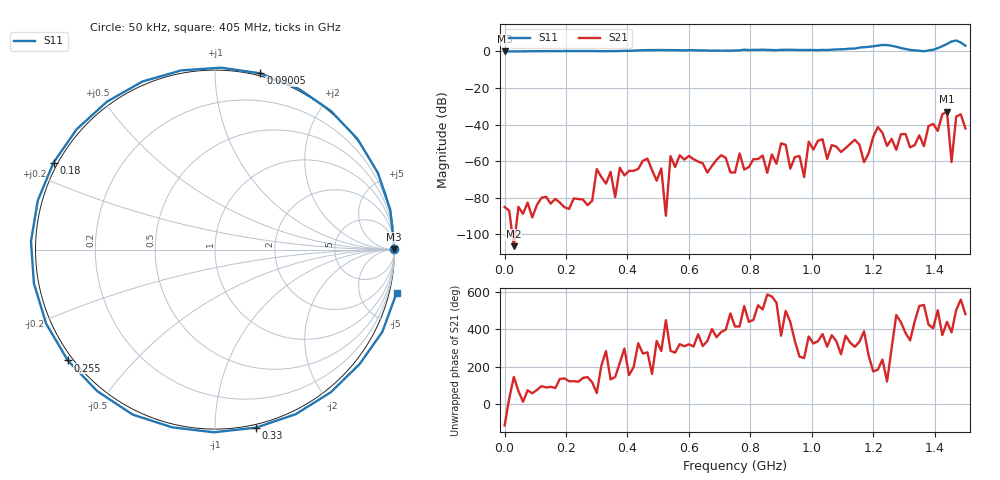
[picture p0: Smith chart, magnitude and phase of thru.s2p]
! Created with skrf 1.8.0 (http://scikit-rf.org).
# Hz S RI R 50.0
!freq ReS11 ImS11 ReS21 ImS21 ReS12 ImS12 ReS22 ImS22
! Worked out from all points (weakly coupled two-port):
!   101 points, 50 kHz to 1.5 GHz, reference 50 ohm
!   highest |S21| = -32.86 dB at 1.44 GHz (marker M1); lowest = -106.4 dB at 30.05 MHz (marker M2)
!   lowest |S11| = 0.0 dB at 50 kHz (marker M3)
!   |S11| at or under -10 dB: nowhere
!   S12 and S22 are empty: the file has one direction only
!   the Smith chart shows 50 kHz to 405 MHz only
!   S11 on the Smith chart (normalised r, x): 50 kHz: open; 90.05 MHz: -0.02, +1.29; 180 MHz: -0.01, +0.25; 255 MHz: -0.01, -0.33; 330 MHz: -0.02, -1.26; 405 MHz: -1.44, -8.34
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50000  0.9987 0.00119  -2.4e-05 -5.1e-05  0 0  0 0
3.0049e7  0.9074 0.4278  -3.92e-06 2.75e-06  0 0  0 0
9.0047e7  0.2527 0.982  1.6e-05 2.44e-05  0 0  0 0
1.80044e8  -0.8995 0.4851  -5.14e-05 5.33e-05  0 0  0 0
2.550415e8  -0.8204 -0.6173  -6.81e-05 5.86e-05  0 0  0 0
3.30039e8  0.2282 -0.992  5.55e-05 -0.000238  0 0  0 0
4.050365e8  1.012 -0.239  -0.000494 0.000237  0 0  0 0
5.10033e8  0.3014 1.055  0.000152 -0.000617  0 0  0 0
5.250325e8  0.0771 1.088  6.88e-07 3.25e-05  0 0  0 0
5.40032e8  -0.1464 1.078  0.000347 -0.00134  0 0  0 0
6.450285e8  -1.067 -0.0199  0.000569 -0.000673  0 0  0 0
7.50025e8  0.1441 -1.052  0.000285 0.000403  0 0  0 0
8.40022e8  1.11 0.1153  -0.00119 0.000792  0 0  0 0
9.750175e8  -0.358 1.035  -0.000155 -0.000337  0 0  0 0
1.005016e9  -0.6928 0.848  0.00168 -0.00124  0 0  0 0
1.110013e9  -1.056 -0.4832  0.00227 0.000218  0 0  0 0
1.18501e9  0.0331 -1.337  -0.000302 -0.00162  0 0  0 0
1.260008e9  1.422 0.1334  0.00202 -0.00354  0 0  0 0
1.440002e9  -0.7682 1.406  0.00397 0.0224  0 0  0 0
1.455002e9  -1.35 1.297  0.000873 0.000374  0 0  0 0
1.470001e9  -1.891 0.647  -0.0133 0.00998  0 0  0 0
1.5e9  -1.38 -0.4021  -0.00408 0.00673  0 0  0 0
